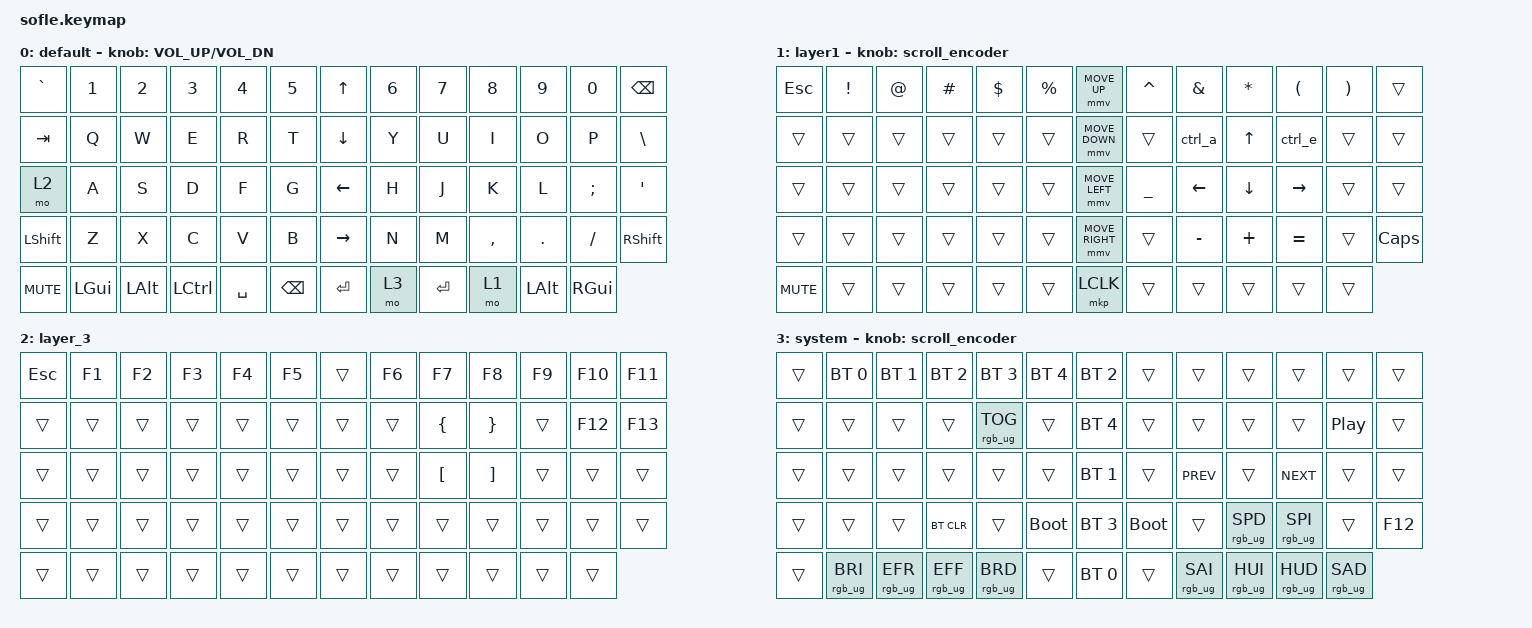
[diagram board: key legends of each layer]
#include <behaviors/mouse_keys.dtsi>
#include <behaviors.dtsi>
#include <dt-bindings/zmk/bt.h>
#include <dt-bindings/zmk/keys.h>
#include <dt-bindings/zmk/mouse.h>
#include <dt-bindings/zmk/rgb.h>

#define ZMK_MOUSE_DEFAULT_MOVE_VAL 1200  // 600
#define ZMK_MOUSE_DEFAULT_SCRL_VAL 20    // 10
#define U_MS_U &mmv MOVE_UP
#define U_MS_D &mmv MOVE_DOWN
#define U_MS_L &mmv MOVE_LEFT
#define U_MS_R &mmv MOVE_RIGHT
#define ZMK_MOUSE_DEFAULT_MOVE_VAL 1200  //  600
#define ZMK_MOUSE_DEFAULT_SCRL_VAL 20    // 10

/ {
    behaviors {
        mmv {
            acceleration-exponent = <1>;      // 1
            time-to-max-speed-ms = <900>;    // 40
            delay-ms = <0>;                   // 0
        };

        msc {
            acceleration-exponent = <1>;      // 0
            time-to-max-speed-ms = <400>;      // 500
            delay-ms = <0>;                   //   10
        };
    };

    scroll_encoder: scroll_encoder {
        compatible = "zmk,behavior-sensor-rotate";
        #sensor-binding-cells = <0>;
        bindings = <&msc SCRL_DOWN>, <&msc SCRL_UP>;

        tap-ms = <30>;
    };

    macros {
        ctrl_a: ctrl_a {
            compatible = "zmk,behavior-macro";
            #binding-cells = <0>;
            bindings = <&kp LC(A)>;
            label = "CTRL_A";
        };

        ctrl_e: ctrl_e {
            compatible = "zmk,behavior-macro";
            #binding-cells = <0>;
            bindings = <&kp LC(E)>;
            label = "CTRL_E";
        };
    };

    keymap {
        compatible = "zmk,keymap";

        layer0 {
            bindings = <
&kp GRAVE   &kp N1        &kp N2        &kp N3            &kp N4     &kp N5           &kp UP_ARROW     &kp N6  &kp N7     &kp N8     &kp N9        &kp N0         &kp BACKSPACE
&kp TAB     &kp Q         &kp W         &kp E             &kp R      &kp T            &kp DOWN_ARROW   &kp Y   &kp U      &kp I      &kp O         &kp P          &kp BSLH
&mo 2       &kp A         &kp S         &kp D             &kp F      &kp G            &kp LEFT_ARROW   &kp H   &kp J      &kp K      &kp L         &kp SEMI       &kp APOS
&kp LSHFT   &kp Z         &kp X         &kp C             &kp V      &kp B            &kp RIGHT_ARROW  &kp N   &kp M      &kp COMMA  &kp DOT       &kp FSLH       &kp RIGHT_SHIFT
&kp C_MUTE  &kp LEFT_GUI  &kp LEFT_ALT  &kp LEFT_CONTROL  &kp SPACE  &kp BACKSPACE    &kp ENTER        &mo 3   &kp ENTER  &mo 1      &kp LEFT_ALT  &kp RIGHT_GUI
            >;

            sensor-bindings = <&inc_dec_kp C_VOLUME_UP C_VOL_DN>;
            display-name = "default";
        };

        layer_1 {
            bindings = <
&kp ESCAPE  &kp EXCLAMATION  &kp AT_SIGN  &kp HASH  &kp DOLLAR  &kp PERCENT    &mmv MOVE_UP     &kp CARET  &kp AMPERSAND  &kp ASTERISK  &kp LEFT_PARENTHESIS  &kp RIGHT_PARENTHESIS  &trans
&trans      &trans           &trans       &trans    &trans      &trans         &mmv MOVE_DOWN   &trans     &ctrl_a        &kp UP_ARROW  &ctrl_e               &trans                 &trans
&trans      &trans           &trans       &trans    &trans      &trans         &mmv MOVE_LEFT   &kp UNDER  &kp LEFT       &kp DOWN      &kp RIGHT             &trans                 &trans
&trans      &trans           &trans       &trans    &trans      &trans         &mmv MOVE_RIGHT  &trans     &kp MINUS      &kp PLUS      &kp EQUAL             &trans                 &kp CAPSLOCK
&kp C_MUTE  &trans           &trans       &trans    &trans      &trans         &mkp LCLK        &trans     &trans         &trans        &trans                &trans
            >;

            display-name = "layer1";
            sensor-bindings = <&scroll_encoder>;
        };

        layer_3 {
            bindings = <
&kp ESC  &kp F1  &kp F2  &kp F3  &kp F4  &kp F5    &trans  &kp F6  &kp F7            &kp F8             &kp F9  &kp F10  &kp F11
&trans   &trans  &trans  &trans  &trans  &trans    &trans  &trans  &kp LEFT_BRACE    &kp RIGHT_BRACE    &trans  &kp F12  &kp F13
&trans   &trans  &trans  &trans  &trans  &trans    &trans  &trans  &kp LEFT_BRACKET  &kp RIGHT_BRACKET  &trans  &trans   &trans
&trans   &trans  &trans  &trans  &trans  &trans    &trans  &trans  &trans            &trans             &trans  &trans   &trans
&trans   &trans  &trans  &trans  &trans  &trans    &trans  &trans  &trans            &trans             &trans  &trans
            >;
        };

        layer_2 {
            bindings = <
&trans  &bt BT_SEL 0     &bt BT_SEL 1     &bt BT_SEL 2     &bt BT_SEL 3     &bt BT_SEL 4    &bt BT_SEL 2  &trans       &trans           &trans           &trans           &trans            &trans
&trans  &trans           &trans           &trans           &rgb_ug RGB_TOG  &trans          &bt BT_SEL 4  &trans       &trans           &trans           &trans           &kp C_PLAY_PAUSE  &trans
&trans  &trans           &trans           &trans           &trans           &trans          &bt BT_SEL 1  &trans       &kp C_PREV       &trans           &kp C_NEXT       &trans            &trans
&trans  &trans           &trans           &bt BT_CLR       &trans           &bootloader     &bt BT_SEL 3  &bootloader  &trans           &rgb_ug RGB_SPD  &rgb_ug RGB_SPI  &trans            &kp F12
&trans  &rgb_ug RGB_BRI  &rgb_ug RGB_EFR  &rgb_ug RGB_EFF  &rgb_ug RGB_BRD  &trans          &bt BT_SEL 0  &trans       &rgb_ug RGB_SAI  &rgb_ug RGB_HUI  &rgb_ug RGB_HUD  &rgb_ug RGB_SAD
            >;

            sensor-bindings = <&scroll_encoder>;
            label = "system";
        };
    };
};
